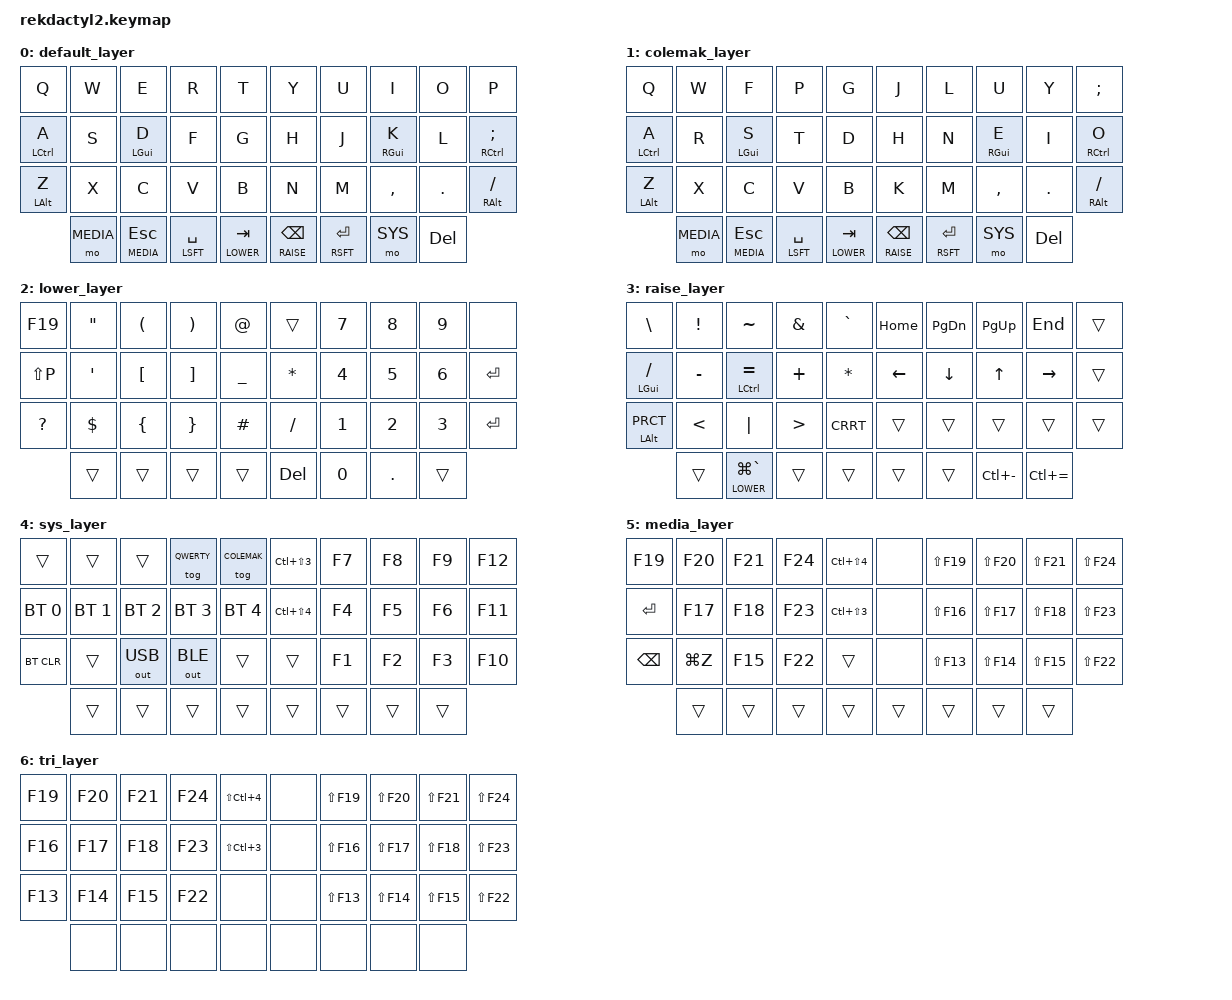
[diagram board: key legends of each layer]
/*
 * Copyright (c) 2020 The ZMK Contributors
 *
 * SPDX-License-Identifier: MIT
 */

/*
 *  west build -b rekdactyl -- -DSHIELD=rekdactyl_left -DZMK_CONFIG="/Users/rishi/Documents/GitHub/zmk-config/config"
 */

#include <behaviors.dtsi>
#include <dt-bindings/zmk/keys.h>
#include <dt-bindings/zmk/bt.h>
#include <dt-bindings/zmk/outputs.h>

#define QWERTY 0
#define COLEMAK 1
#define LOWER 2
#define RAISE 3
#define SYS 4
#define MEDIA 5
#define TRI 6

/ {
        behaviors {
            hm: homerow_mods {
                compatible = "zmk,behavior-hold-tap";
                label = "HOMEROW_MODS";
                #binding-cells = <2>;
                tapping-term-ms = <180>;
                flavor = "tap-preferred";
                bindings = <&kp>, <&kp>;
            };
        };
        conditional_layers {
                compatible = "zmk,conditional-layers";
                tri_layer {
                    if-layers = <LOWER RAISE>;
                    then-layer = <TRI>;
                };
        };
        keymap {
                compatible = "zmk,keymap";

                default_layer {
                        bindings = <
   &kp Q         &kp W      &kp E         &kp R         &kp T            &kp Y         &kp U      &kp I          &kp O      &kp P 
   &hm LCTRL A   &kp S      &hm LGUI D    &kp F         &kp G            &kp H         &kp J      &hm RGUI K     &kp L      &hm RCTRL SCLN
   &hm LALT Z    &kp X      &kp C         &kp V         &kp B            &kp N         &kp M      &kp CMMA       &kp DOT    &hm RALT FSLH
                 &mo MEDIA  &lt MEDIA ESC &hm LSFT SPC  &lt LOWER TAB    &lt RAISE BKSP &hm RSFT RET  &mo SYS &kp DEL
                        >;
                };
                
                colemak_layer {
                        bindings = <
   &kp Q         &kp W      &kp F        &kp P         &kp G            &kp J         &kp L      &kp U          &kp Y      &kp SCLN 
   &hm LCTRL A   &kp R      &hm LGUI S   &kp T         &kp D            &kp H         &kp N      &hm RGUI E     &kp I      &hm RCTRL O
   &hm LALT Z    &kp X      &kp C        &kp V         &kp B            &kp K         &kp M      &kp CMMA       &kp DOT    &hm RALT FSLH
                 &mo MEDIA  &lt MEDIA ESC &hm LSFT SPC  &lt LOWER TAB    &lt RAISE BKSP &hm RSFT RET  &mo SYS &kp DEL
                        >;
                };

                lower_layer {
                        bindings = <
   &kp F19       &kp DQT    &kp LPAR     &kp RPAR      &kp AT           &trans        &kp N7     &kp N8         &kp N9     &none
   &kp LS(P)     &kp SQT    &kp LBKT     &kp RBKT      &kp UNDER        &kp STAR      &kp N4     &kp N5         &kp N6     &kp RET
   &kp QMARK     &kp DLLR   &kp LBRC     &kp RBRC      &kp HASH         &kp FSLH      &kp N1     &kp N2         &kp N3     &kp RET
                 &trans     &trans       &trans        &trans           &kp DEL       &kp N0     &kp DOT        &trans
                        >;
                };
                
                raise_layer {
                        bindings = <
   &kp BSLH      &kp EXCL   &kp TILDE    &kp AMPS      &kp GRAVE        &kp HOME      &kp PG_DN  &kp PG_UP      &kp END    &trans
   &hm LGUI FSLH &kp MINUS  &hm LCTRL EQL &kp PLUS      &kp STAR         &kp LEFT      &kp DOWN   &kp UP         &kp RIGHT  &trans
   &hm LALT PRCT &kp LT     &kp PIPE     &kp GT        &kp CRRT         &trans        &trans     &trans         &trans     &trans
                            &trans  &lt LOWER LG(GRAVE) &trans &trans       &trans        &trans     &kp LC(MINUS) &kp LC(EQL)
                        >;
                };

                sys_layer {
                        bindings = <
   &trans        &trans     &trans       &tog QWERTY   &tog COLEMAK     &kp LC(LS(N3)) &kp F7     &kp F8         &kp F9     &kp F12    
   &bt BT_SEL 0  &bt BT_SEL 1 &bt BT_SEL 2 &bt BT_SEL 3 &bt BT_SEL 4     &kp LC(LS(N4)) &kp F4     &kp F5         &kp F6     &kp F11
   &bt BT_CLR    &trans     &out OUT_USB &out OUT_BLE  &trans           &trans         &kp F1     &kp F2         &kp F3     &kp F10
                            &trans       &trans       &trans  &trans         &trans        &trans     &trans        &trans
                        >;
                };

                media_layer {
                        bindings = <
   &kp F19       &kp F20    &kp F21      &kp F24       &kp LC(LS(N4))   &none &kp LS(F19)   &kp LS(F20) &kp LS(F21)    &kp LS(F24) 
   &kp RET       &kp F17    &kp F18      &kp F23       &kp LC(LS(N3))   &none &kp LS(F16)   &kp LS(F17) &kp LS(F18)    &kp LS(F23) 
   &kp BKSP      &kp LG(Z)  &kp F15      &kp F22       &trans           &none &kp LS(F13)   &kp LS(F14) &kp LS(F15)    &kp LS(F22) 
                            &trans       &trans       &trans  &trans         &trans        &trans     &trans        &trans
                        >;
                };

                tri_layer {
                        bindings = <
   &kp F19       &kp F20       &kp F21       &kp F24       &kp LS(LC(N4))     &none         &kp LS(F19)   &kp LS(F20)   &kp LS(F21)   &kp LS(F24)
   &kp F16       &kp F17       &kp F18       &kp F23       &kp LS(LC(N3))     &none         &kp LS(F16)   &kp LS(F17)   &kp LS(F18)   &kp LS(F23)
   &kp F13       &kp F14       &kp F15       &kp F22       &none              &none         &kp LS(F13)   &kp LS(F14)   &kp LS(F15)   &kp LS(F22)
                            &none         &none         &none  &none             &none         &none         &none         &none
                        >;
                };
            };

};
